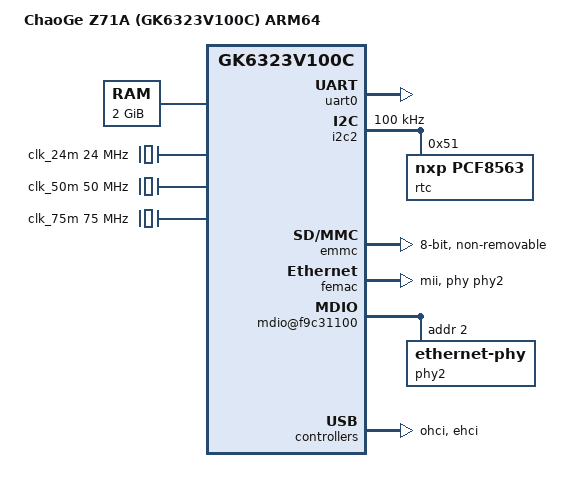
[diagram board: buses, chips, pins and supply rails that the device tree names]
// SPDX-License-Identifier: GPL-2.0+
/*
 * 国科微 GK6323V100C（整机型号 ChaoGe Z71A）板级设备树 —— CRG 门控/复位版
 *
 * 基线 = 能正常进 rootfs 的那一版（256 行，引导最小集），本版只在它上面
 * 加了三处，其余一行未动：
 *
 *   1) soc 下新增 CRG 节点 clock@f8a22000，compatible 用本仓库 900-01 补丁
 *      新增的驱动认的 "goke,gk6323v100c-crg"，只提供 #reset-cells = <2>
 *      （寄存器偏移, 位号）。该驱动在 probe 时直接把 eMMC / USB2 / FEMAC
 *      三组时钟门控写开、软复位放开；
 *   2) femac 节点补上 resets = <&cru 0xd0 3>; reset-names = "mac";
 *      —— hisi_femac 驱动对 "mac" 复位是强制要求，缺了它 probe 直接失败
 *      （真机日志里那条 hisi-femac ... failed with error -2 就是它）；
 *      只给 "mac"，不给 "phy"：给了 "phy" 之后驱动会去读
 *      hisilicon,phy-reset-* 延时属性，属性不存在会让 probe 直接失败。
 *   3) 补回 vdp@7f000000 保留区（16MB）：U-Boot 把开机 logo 的帧缓冲放在
 *      0x7f511000，内核若把这块当普通内存分配会立刻盖掉画面（花屏）。
 *
 * 为什么外设时钟仍用 fixed-clock、不引用 <&cru N>：
 *   时钟 provider 一旦注册失败，所有引用它的外设会永久 -EPROBE_DEFER，
 *   连挂根文件系统的 eMMC 一起拖死。门控由 CRG 驱动直接写寄存器完成，
 *   效果相同而不会牵连启动路径。
 *
 * 与真机原树的有意差异（让主线内核能认领硬件）：
 *   1) eMMC 的 compatible 追加 "snps,dw-mshc"，使主线 dw_mmc-pltfm 能够认领；
 *   2) 各外设时钟用下面的 fixed-clock，不再引用国科私有 CRU；
 *   3) 真机树里主线无驱动的节点（aiao 音频、cpufreq、thermal、ir）不写。
 *
 * 中断 specifier：GICv3 为 3 个 cell = <类型 号 触发方式>，类型 0=SPI、1=PPI，
 * 号是 GIC 视角的号（SPI 号 = 真机 /proc/interrupts 里的号 - 32）。
 */

/dts-v1/;

/ {
	model = "ChaoGe Z71A (GK6323V100C) ARM64";
	compatible = "chaoge,z71a", "goke,gk6323v100c";
	#address-cells = <2>;
	#size-cells = <2>;
	interrupt-parent = <&gic>;

	/* stdout-path = "serial0:..." 依赖这条别名，其余别名引导用不到 */
	aliases {
		serial0 = &uart0;
	};

	chosen {
		/* 与 bootargs 分区一致；root= 亦由此下发 */
		bootargs = "earlycon=pl011,mmio32,0xf8b00000,115200n8 console=ttyAMA0,115200n8 console=tty0 clk_ignore_unused net.ifnames=0 root=/dev/mmcblk0p18 rootfstype=ext4 rootwait rw panic=-1 blkdevparts=mmcblk0:1M(fastboot),512K(bootargs),512K(bootargsbak),20M(recovery),2M(deviceinfo),8M(securestore),2M(atf),8M(baseparam),8M(pqparam),2M(dtbo),10M(logo),10M(logobak),20M(fastplay),20M(recoverybak),60M(boot),20M(misc),20M(trustedcore),-(rootfs)";
		stdout-path = "serial0:115200n8";
	};

	/*
	 * 内存：2GiB，取自真机导出的设备树，与真机 /proc/meminfo 的
	 * MemTotal: 2018984 kB 吻合。
	 * ★ 不要被 U-Boot 的 "DRAM: 1 GiB" 误导：那是 U-Boot 自己的可映射上限，
	 *   不代表硬件容量。写成 1GiB 会让内核白白少认一半内存。
	 */
	memory@0 {
		device_type = "memory";
		reg = <0x00 0x00 0x00 0x80000000>;
	};

	/* BL31(ATF) 与 OPTEE 占用区，必须告知内核，否则会被当作可用内存 */
	reserved-memory {
		#address-cells = <2>;
		#size-cells = <2>;
		ranges;

		bl31@8020000 {
			reg = <0x00 0x8020000 0x00 0x200000>;
			no-map;
		};

		optee@d200000 {
			reg = <0x00 0xd200000 0x00 0x400000>;
			no-map;
		};

		/*
		 * VDP/framebuffer 保留区（16MB）：
		 * U-Boot 在 0x7f511000 放了开机 logo 的帧缓冲，内核若把这块当
		 * 普通内存分配，会立刻盖掉画面造成花屏。与真机原树的
		 * vdp@7f000000 对齐。
		 */
		vdp@7f000000 {
			reg = <0x00 0x7f000000 0x00 0x01000000>;
			no-map;
		};
	};

	/*
	 * 外设时钟一律用固定时钟：国科私有 CRU 无主线驱动，引用它会让外设
	 * probe 永久 -EPROBE_DEFER；CRG 的门控与复位由 900-01 补丁的驱动
	 * 在 probe 时直接写寄存器处理。
	 */
	clocks {
		clk_24m: clk-24m {
			compatible = "fixed-clock";
			#clock-cells = <0>;
			clock-frequency = <24000000>;
		};

		clk_50m: clk-50m {
			compatible = "fixed-clock";
			#clock-cells = <0>;
			clock-frequency = <50000000>;
		};

		clk_75m: clk-75m {
			compatible = "fixed-clock";
			#clock-cells = <0>;
			clock-frequency = <75000000>;
		};
	};

	cpus {
		#address-cells = <1>;
		#size-cells = <0>;

		cpu0: cpu@0 {
			device_type = "cpu";
			compatible = "arm,cortex-a55";
			reg = <0x0>;
			enable-method = "psci";
		};

		cpu1: cpu@100 {
			device_type = "cpu";
			compatible = "arm,cortex-a55";
			reg = <0x100>;
			enable-method = "psci";
		};

		cpu2: cpu@200 {
			device_type = "cpu";
			compatible = "arm,cortex-a55";
			reg = <0x200>;
			enable-method = "psci";
		};

		cpu3: cpu@300 {
			device_type = "cpu";
			compatible = "arm,cortex-a55";
			reg = <0x300>;
			enable-method = "psci";
		};
	};

	psci {
		compatible = "arm,psci-0.2";
		method = "smc";
	};

	/* A55 的 arch timer：4 个 PPI，频率 24MHz（与真机一致） */
	timer {
		compatible = "arm,armv8-timer";
		interrupts = <1 13 4>, <1 14 4>, <1 11 4>, <1 10 4>;
		clock-frequency = <24000000>;
	};

	gic: interrupt-controller@f1000000 {
		compatible = "arm,gic-v3";
		reg = <0x0 0xf1000000 0x0 0x10000>,
		      <0x0 0xf1040000 0x0 0x80000>;
		interrupt-controller;
		#interrupt-cells = <3>;
	};

	soc: soc@f0000000 {
		#address-cells = <1>;
		#size-cells = <1>;
		compatible = "simple-bus";
		ranges = <0xf0000000 0x0 0xf0000000 0x10000000>;

		/*
		 * 国科 GK6323V100C 的 CRU/CRG（时钟 + 复位控制器）。
		 *
		 * 基址 f8a22000 的三重依据：
		 *   - 真机原厂 TTL 第 207 行：gk6323v100c-cru f8a22000.clock
		 *   - 反编译原厂设备树的 clock@f8a22000
		 *   - Hi3798MV310 BSP 里 hivendor_clock 的基址
		 *
		 * compatible 由本仓库 patches/900-01 补丁新增的驱动绑定。
		 * 只给 #reset-cells = <2>（寄存器偏移, 位号），例：
		 *   resets = <&cru 0xd0 3>;
		 * 不给 #clock-cells —— 外设时钟仍走上面的 fixed-clock。
		 */
		cru: clock@f8a22000 {
			compatible = "goke,gk6323v100c-crg";
			reg = <0xf8a22000 0x400>;
			#reset-cells = <2>;
		};

		/* 控制台串口：bootargs 的 console=ttyAMA0 指这里 */
		uart0: serial@f8b00000 {
			compatible = "arm,pl011", "arm,primecell";
			reg = <0xf8b00000 0x1000>;
			interrupts = <0 49 4>;
			clocks = <&clk_75m>, <&clk_75m>;
			clock-names = "uartclk", "apb_pclk";
		};

		/* 板载 RTC：PCF8563 挂在 i2c2 上，地址 0x51 */
		i2c2: i2c@f8b12000 {
			compatible = "hisilicon,hix5hd2-i2c";
			reg = <0xf8b12000 0x1000>;
			interrupts = <0 40 4>;
			clocks = <&clk_50m>;
			clock-names = "apb_pclk";
			clock-frequency = <100000>;
			#address-cells = <1>;
			#size-cells = <0>;

			rtc@51 {
				compatible = "nxp,pcf8563";
				reg = <0x51>;
			};
		};

		/*
		 * eMMC：根文件系统在 mmcblk0p18，本项必须起来。
		 * 第二段 reg 是国科 CRU 里那 0x40 字节的 SD 时钟控制寄存器，保留原位，
		 * 主线驱动不会去动它（时钟由 bootloader 保持上电）。
		 */
		emmc: mmc@f9830000 {
			compatible = "goke,gk6323v100c-dw-mshc", "snps,dw-mshc";
			reg = <0xf9830000 0x1000>, <0xf8a21000 0x40>;
			interrupts = <0 35 4>;
			clocks = <&clk_50m>, <&clk_50m>;
			clock-names = "biu", "ciu";
			fifo-depth = <0x100>;
			card-detect-delay = <200>;
			bus-width = <8>;
			non-removable;
			mmc-ddr-1_8v;
			disable-wp;
		};

		/*
		 * 板载百兆网口：PHY 挂在下面的 mdio 总线上，地址 2。
		 * resets 只写 "mac"（0xd0 bit3）：hisi_femac 对它是强制要求，
		 * 缺了 probe 就报 -ENOENT；"phy" 故意不给，理由见文件头。
		 */
		femac: ethernet@f9c30000 {
			compatible = "hisilicon,hisi-femac-v2";
			reg = <0xf9c30000 0x1000>, <0xf9c31300 0x300>;
			interrupts = <0 72 4>;
			clocks = <&clk_75m>;
			resets = <&cru 0xd0 3>;
			reset-names = "mac";
			phy-mode = "mii";
			phy-handle = <&phy2>;
		};

		mdio@f9c31100 {
			compatible = "hisilicon,hisi-femac-mdio";
			reg = <0xf9c31100 0x100>;
			clocks = <&clk_75m>;
			#address-cells = <1>;
			#size-cells = <0>;

			phy2: ethernet-phy@2 {
				reg = <0x2>;
			};
		};

		/*
		 * USB2.0：真机只有 EHCI/OHCI，无 xhci。
		 * 这两项不写 clocks / resets：接线统一由 CRG 驱动在 probe 时
		 * 直接开门控、放复位（0xb8 / 0xbc），少一处引用就少一处
		 * 可能导致 probe 延后的依赖。
		 */
		ohci: usb@f9880000 {
			compatible = "generic-ohci";
			reg = <0xf9880000 0x10000>;
			interrupts = <0 67 4>;
		};

		ehci: usb@f9890000 {
			compatible = "generic-ehci";
			reg = <0xf9890000 0x10000>;
			interrupts = <0 66 4>;
		};

		/* SP805 看门狗：也是 panic 后重启的复位通道 */
		watchdog@f8a2c000 {
			compatible = "arm,sp805-wdt", "arm,primecell";
			reg = <0xf8a2c000 0x1000>;
			clocks = <&clk_24m>;
			clock-names = "apb_pclk";
			clock-frequency = <24000000>;
			timeout-sec = <60>;
		};
	};
};
